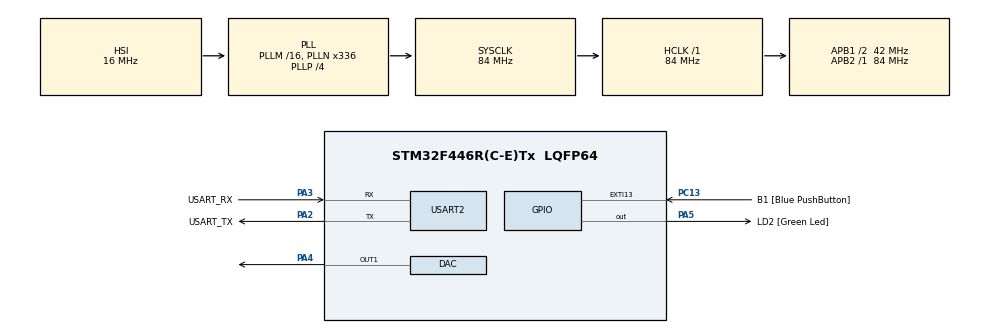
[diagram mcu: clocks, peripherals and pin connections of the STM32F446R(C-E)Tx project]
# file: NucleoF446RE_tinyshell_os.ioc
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DAC.DAC_Trigger=DAC_TRIGGER_SOFTWARE
Dma.Request0=USART2_RX
Dma.USART2_RX.0.Direction=DMA_PERIPH_TO_MEMORY
Dma.USART2_RX.0.FIFOMode=DMA_FIFOMODE_DISABLE
Dma.USART2_RX.0.Instance=DMA1_Stream5
Dma.USART2_RX.0.MemDataAlignment=DMA_MDATAALIGN_BYTE
Dma.USART2_RX.0.MemInc=DMA_MINC_ENABLE
Dma.USART2_RX.0.Mode=DMA_NORMAL
Dma.USART2_RX.0.PeriphDataAlignment=DMA_PDATAALIGN_BYTE
Dma.USART2_RX.0.PeriphInc=DMA_PINC_DISABLE
Dma.USART2_RX.0.Priority=DMA_PRIORITY_MEDIUM
FREERTOS.BinarySemaphores01=ShellBinarySem,Static,ShellBinarySemControlBlock
FREERTOS.Tasks01=defaultTask,0,128,StartDefaultTask,Default,NULL,Dynamic,NULL,NULL;shellTask,1,128,StartShellTask,Default,NULL,Dynamic,NULL,NULL
FREERTOS.configGENERATE_RUN_TIME_STATS=1
FREERTOS.configUSE_COUNTING_SEMAPHORES=1
FREERTOS.configUSE_MUTEXES=0
FREERTOS.configUSE_STATS_FORMATTING_FUNCTIONS=0
FREERTOS.configUSE_TRACE_FACILITY=1
Mcu.Family=STM32F4
Mcu.Name=STM32F446R(C-E)Tx
Mcu.Package=LQFP64
NVIC.DMA1_Stream5_IRQn=true\:5\:0\:false\:false\:true\:true\:false\:true
NVIC.PriorityGroup=NVIC_PRIORITYGROUP_4
NVIC.TIM5_IRQn=true\:7\:0\:true\:false\:true\:true\:true\:true
NVIC.TIM6_DAC_IRQn=true\:0\:0\:false\:false\:true\:false\:false\:true
NVIC.TimeBase=TIM6_DAC_IRQn
NVIC.TimeBaseIP=TIM6
NVIC.USART2_IRQn=true\:6\:0\:true\:false\:true\:true\:true\:true
PA13.GPIO_Label=TMS
PA13.Mode=Serial_Wire
PA13.Signal=SYS_JTMS-SWDIO
PA14.GPIO_Label=TCK
PA14.Mode=Serial_Wire
PA14.Signal=SYS_JTCK-SWCLK
PA2.GPIO_Label=USART_TX
PA2.Mode=Asynchronous
PA2.Signal=USART2_TX
PA3.GPIO_Label=USART_RX
PA3.Mode=Asynchronous
PA3.Signal=USART2_RX
PA4.Signal=COMP_DAC1_group
PA5.GPIO_Label=LD2 [Green Led]
PA5.Signal=GPIO_Output
PB3.GPIO_Label=SWO
PB3.Signal=SYS_JTDO-SWO
PC13.GPIO_Label=B1 [Blue PushButton]
PC13.GPIO_ModeDefaultEXTI=GPIO_MODE_IT_FALLING
PC13.Signal=GPXTI13
PC14-OSC32_IN.Signal=RCC_OSC32_IN
PC15-OSC32_OUT.Signal=RCC_OSC32_OUT
PH0-OSC_IN.Signal=RCC_OSC_IN
PH1-OSC_OUT.Signal=RCC_OSC_OUT
ProjectManager.HeapSize=0x200
ProjectManager.StackSize=0x400
ProjectManager.TargetToolchain=STM32CubeIDE
RCC.48MHZClocksFreq_Value=84000000
RCC.AHBFreq_Value=84000000
RCC.APB1CLKDivider=RCC_HCLK_DIV2
RCC.APB1Freq_Value=42000000
RCC.APB1TimFreq_Value=84000000
RCC.APB2Freq_Value=84000000
RCC.APB2TimFreq_Value=84000000
RCC.CortexFreq_Value=84000000
RCC.FLatency-AdvancedSettings=FLASH_LATENCY_2
RCC.HCLKFreq_Value=84000000
RCC.HSE_VALUE=8000000
RCC.HSI_VALUE=16000000
RCC.PLLN=336
RCC.PLLP=RCC_PLLP_DIV4
RCC.SYSCLKFreq_VALUE=84000000
RCC.SYSCLKSource=RCC_SYSCLKSOURCE_PLLCLK
RCC.USBFreq_Value=168000000
RCC.VCOOutputFreq_Value=336000000
SH.COMP_DAC1_group.0=DAC_OUT1,DAC_OUT1
TIM5.Period=timPeriod
USART2.VirtualMode=VM_ASYNC
VP_FREERTOS_VS_CMSIS_V1.Mode=CMSIS_V1
VP_SYS_VS_tim6.Mode=TIM6
VP_TIM5_VS_ClockSourceINT.Mode=Internal
board=NUCLEO-F446RE

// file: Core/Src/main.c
/* USER CODE BEGIN Header */
/**
  ******************************************************************************
  * @file           : main.c
  * @brief          : Main program body
  ******************************************************************************
  * @attention
  *
  * <h2><center>&copy; Copyright (c) 2020 STMicroelectronics.
  * All rights reserved.</center></h2>
  *
  * This software component is licensed by ST under BSD 3-Clause license,
  * the "License"; You may not use this file except in compliance with the
  * License. You may obtain a copy of the License at:
  *                        opensource.org/licenses/BSD-3-Clause
  *
  ******************************************************************************
  */
/* USER CODE END Header */
#include "main.h"
#include "cmsis_os.h"

/* USER CODE BEGIN Includes */
#include "tinyshell.h"

/* USER CODE END Includes */

/* USER CODE BEGIN PM */
#define DEBUG_BREAK		__asm("BKPT #0");

/* USER CODE END PM */

DAC_HandleTypeDef hdac;

TIM_HandleTypeDef htim5;

UART_HandleTypeDef huart2;
DMA_HandleTypeDef hdma_usart2_rx;

osThreadId defaultTaskHandle;
osThreadId shellTaskHandle;
osSemaphoreId ShellBinarySemHandle;
osStaticSemaphoreDef_t ShellBinarySemControlBlock;
/* USER CODE BEGIN PV */
__IO char rxByte;
#if (configGENERATE_RUN_TIME_STATS == 1)
/**> https://mcuoneclipse.com/2018/08/02/tutorial-using-runtime-statistics-with-amazon-freertos-v10/ */
static uint32_t RTOS_RunTimeCounter;
#endif

/* USER CODE END PV */

void SystemClock_Config(void);
static void MX_GPIO_Init(void);
static void MX_DMA_Init(void);
static void MX_USART2_UART_Init(void);
static void MX_DAC_Init(void);
static void MX_TIM5_Init(void);
void StartDefaultTask(void const * argument);
void StartShellTask(void const * argument);

/* USER CODE BEGIN PFP */
int console_putc(char c);
char console_getc(void);
#if (0)
void console_puts(char *s);
void console_put_line(char *s);
int console_gets(char *s, int len);
#endif
/* USER CODE END PFP */

/* USER CODE BEGIN 0 */

#if (configGENERATE_RUN_TIME_STATS == 1)
/**
 * CallBack Function used for TIM5 initialization for FREERTOS STAT TRACE
 * Return: None
 */
void RTOS_AppConfigureTimerForRuntimeStats(void)
{
  RTOS_RunTimeCounter = 0;
  HAL_TIM_Base_Start_IT(&htim5);
}

/**
 * CallBack Function to get FREERTOS STAT timer (10kHz)
 * Return: RTOS Counter value
 */
uint32_t RTOS_AppGetRuntimeCounterValueFromISR(void)
{
  return RTOS_RunTimeCounter;
}
#endif

/*
 * Transmit a single char to UART in polling mode
 * Arg1: Char to transmit to UART Data Register
 * Return: Success: 1, None or fail :0
 */
int console_putc(char txByte)
{
  /**> If UART TX Buffer is empty, transmit char to UART TX Buffer */
	if (HAL_UART_Transmit(&huart2, (uint8_t *)&txByte, 1, HAL_MAX_DELAY) == HAL_OK)
	{
		return 1;
	}
	else
		return 0;
}

/*
 * Receive a single char from UART through DMA
 * Return: Received byte into UART data register
 */
char console_getc(void)
{
	/**> Keep for compatibility with non-os and non-UART DMA firmware */
  return (char)rxByte;
}

#if (0)
/*
 * Transmit a string to USART in polling mode
 * Arg0: Array of char
 * Return: None
 */
void console_puts(char *s)
{
  while (*s != '\0')
  {
    if (*s == '\r')
    {
      console_putc('\n');
    }
    else
    {
      console_putc(*s);
    }
    s++;
  }
}

/*
 * Transmit a string and new line to USART in polling mode
 * Arg0: Array of char
 * Return: None
 */
void console_put_line(char *s)
{
  console_puts(s);
  console_puts("\n");
}

/*
 * Receive a string with a know size from USART1 in polling mode
 * Arg0: Received char array
 * Arg1: Maximum lenght of array
 * Return: Total lenght of string
 */
int console_gets(char *s, int len)
{
  char *t = s;
  char c;

  *t = '\000';
  /**> read until <LF> is received */
  while ((c = console_getc()) != '\n')
  {
    *t = c;
    console_putc(c);
    if ((t - s) < len)
    {
      t++;
    }
    /**> Update end of string with NULL */
    *t = '\000';
  }
  return t - s;
}
#endif

/* USER CODE END 0 */

int main(void)
{

  /* MCU Configuration--------------------------------------------------------*/

  /* Reset of all peripherals, Initializes the Flash interface and the Systick. */
  HAL_Init();

  /* Configure the system clock */
  SystemClock_Config();

  /* Initialize all configured peripherals */
  MX_GPIO_Init();
  MX_DMA_Init();
  MX_USART2_UART_Init();
  MX_DAC_Init();
  MX_TIM5_Init();

  /* Create the semaphores(s) */
  /* definition and creation of ShellBinarySem */
  osSemaphoreStaticDef(ShellBinarySem, &ShellBinarySemControlBlock);
  ShellBinarySemHandle = osSemaphoreCreate(osSemaphore(ShellBinarySem), 1);

  /* USER CODE BEGIN RTOS_SEMAPHORES */
  /**> Be sure to enable Sem ControlBlock when creating Binary Semaphore to call xSemaphorecreate which
   	 	 block initial state vs vSemaphoreCreate
   	 	 https://stackoverflow.com/questions/34415794/binary-semaphore-unblock-after-creation */
  /**> Add ShellBinarySem for FreeRTOS STATS */
  vQueueAddToRegistry(ShellBinarySemHandle, "ShellSem");

  /* USER CODE END RTOS_SEMAPHORES */

  /* Create the thread(s) */
  /* definition and creation of defaultTask */
  osThreadDef(defaultTask, StartDefaultTask, osPriorityNormal, 0, 128);
  defaultTaskHandle = osThreadCreate(osThread(defaultTask), NULL);

  /* definition and creation of shellTask */
  osThreadDef(shellTask, StartShellTask, osPriorityAboveNormal, 0, 128);
  shellTaskHandle = osThreadCreate(osThread(shellTask), NULL);

  /* Start scheduler */
  osKernelStart();

  /* We should never get here as control is now taken by the scheduler */
  /* Infinite loop */
  while (1)
  {

  }
}

void SystemClock_Config(void)
{
  RCC_OscInitTypeDef RCC_OscInitStruct = {0};
  RCC_ClkInitTypeDef RCC_ClkInitStruct = {0};

  /** Configure the main internal regulator output voltage
  */
  __HAL_RCC_PWR_CLK_ENABLE();
  __HAL_PWR_VOLTAGESCALING_CONFIG(PWR_REGULATOR_VOLTAGE_SCALE3);
  /** Initializes the RCC Oscillators according to the specified parameters
  * in the RCC_OscInitTypeDef structure.
  */
  RCC_OscInitStruct.OscillatorType = RCC_OSCILLATORTYPE_HSI;
  RCC_OscInitStruct.HSIState = RCC_HSI_ON;
  RCC_OscInitStruct.HSICalibrationValue = RCC_HSICALIBRATION_DEFAULT;
  RCC_OscInitStruct.PLL.PLLState = RCC_PLL_ON;
  RCC_OscInitStruct.PLL.PLLSource = RCC_PLLSOURCE_HSI;
  RCC_OscInitStruct.PLL.PLLM = 16;
  RCC_OscInitStruct.PLL.PLLN = 336;
  RCC_OscInitStruct.PLL.PLLP = RCC_PLLP_DIV4;
  RCC_OscInitStruct.PLL.PLLQ = 2;
  RCC_OscInitStruct.PLL.PLLR = 2;
  if (HAL_RCC_OscConfig(&RCC_OscInitStruct) != HAL_OK)
  {
    Error_Handler();
  }
  /** Initializes the CPU, AHB and APB buses clocks
  */
  RCC_ClkInitStruct.ClockType = RCC_CLOCKTYPE_HCLK|RCC_CLOCKTYPE_SYSCLK
                              |RCC_CLOCKTYPE_PCLK1|RCC_CLOCKTYPE_PCLK2;
  RCC_ClkInitStruct.SYSCLKSource = RCC_SYSCLKSOURCE_PLLCLK;
  RCC_ClkInitStruct.AHBCLKDivider = RCC_SYSCLK_DIV1;
  RCC_ClkInitStruct.APB1CLKDivider = RCC_HCLK_DIV2;
  RCC_ClkInitStruct.APB2CLKDivider = RCC_HCLK_DIV1;

  if (HAL_RCC_ClockConfig(&RCC_ClkInitStruct, FLASH_LATENCY_2) != HAL_OK)
  {
    Error_Handler();
  }
}

static void MX_DAC_Init(void)
{

  DAC_ChannelConfTypeDef sConfig = {0};

  /** DAC Initialization
  */
  hdac.Instance = DAC;
  if (HAL_DAC_Init(&hdac) != HAL_OK)
  {
    Error_Handler();
  }
  /** DAC channel OUT1 config
  */
  sConfig.DAC_Trigger = DAC_TRIGGER_SOFTWARE;
  sConfig.DAC_OutputBuffer = DAC_OUTPUTBUFFER_ENABLE;
  if (HAL_DAC_ConfigChannel(&hdac, &sConfig, DAC_CHANNEL_1) != HAL_OK)
  {
    Error_Handler();
  }
  /* USER CODE BEGIN DAC_Init 2 */
  HAL_DAC_SetValue(&hdac, DAC_CHANNEL_1, DAC_ALIGN_12B_R, 0);
  HAL_DAC_Start(&hdac, DAC_CHANNEL_1);
  HAL_DAC_Stop(&hdac, DAC_CHANNEL_1);
  /* USER CODE END DAC_Init 2 */

}

static void MX_TIM5_Init(void)
{

  /* USER CODE BEGIN TIM5_Init 0 */
#if (configGENERATE_RUN_TIME_STATS == 1)
	/**> We assume PCLK1 = PCLK2 = HCLK */
	uint32_t timPeriod;

  /* USER CODE END TIM5_Init 0 */

  TIM_ClockConfigTypeDef sClockSourceConfig = {0};
  TIM_MasterConfigTypeDef sMasterConfig = {0};

  /* USER CODE BEGIN TIM5_Init 1 */
  timPeriod = (uint32_t)((HAL_RCC_GetPCLK1Freq() / 10000) - 1);

  /* USER CODE END TIM5_Init 1 */
  htim5.Instance = TIM5;
  htim5.Init.Prescaler = 0;
  htim5.Init.CounterMode = TIM_COUNTERMODE_UP;
  htim5.Init.Period = timPeriod;
  htim5.Init.ClockDivision = TIM_CLOCKDIVISION_DIV1;
  htim5.Init.AutoReloadPreload = TIM_AUTORELOAD_PRELOAD_DISABLE;
  if (HAL_TIM_Base_Init(&htim5) != HAL_OK)
  {
    Error_Handler();
  }
  sClockSourceConfig.ClockSource = TIM_CLOCKSOURCE_INTERNAL;
  if (HAL_TIM_ConfigClockSource(&htim5, &sClockSourceConfig) != HAL_OK)
  {
    Error_Handler();
  }
  sMasterConfig.MasterOutputTrigger = TIM_TRGO_RESET;
  sMasterConfig.MasterSlaveMode = TIM_MASTERSLAVEMODE_DISABLE;
  if (HAL_TIMEx_MasterConfigSynchronization(&htim5, &sMasterConfig) != HAL_OK)
  {
    Error_Handler();
  }
  /* USER CODE BEGIN TIM5_Init 2 */
#endif
  /* USER CODE END TIM5_Init 2 */

}

static void MX_USART2_UART_Init(void)
{

  huart2.Instance = USART2;
  huart2.Init.BaudRate = 115200;
  huart2.Init.WordLength = UART_WORDLENGTH_8B;
  huart2.Init.StopBits = UART_STOPBITS_1;
  huart2.Init.Parity = UART_PARITY_NONE;
  huart2.Init.Mode = UART_MODE_TX_RX;
  huart2.Init.HwFlowCtl = UART_HWCONTROL_NONE;
  huart2.Init.OverSampling = UART_OVERSAMPLING_16;
  if (HAL_UART_Init(&huart2) != HAL_OK)
  {
    Error_Handler();
  }

}

static void MX_DMA_Init(void)
{

  /* DMA controller clock enable */
  __HAL_RCC_DMA1_CLK_ENABLE();

  /* DMA interrupt init */
  /* DMA1_Stream5_IRQn interrupt configuration */
  HAL_NVIC_SetPriority(DMA1_Stream5_IRQn, 5, 0);
  HAL_NVIC_EnableIRQ(DMA1_Stream5_IRQn);

}

static void MX_GPIO_Init(void)
{
  GPIO_InitTypeDef GPIO_InitStruct = {0};

  /* GPIO Ports Clock Enable */
  __HAL_RCC_GPIOC_CLK_ENABLE();
  __HAL_RCC_GPIOH_CLK_ENABLE();
  __HAL_RCC_GPIOA_CLK_ENABLE();
  __HAL_RCC_GPIOB_CLK_ENABLE();

  /*Configure GPIO pin Output Level */
  HAL_GPIO_WritePin(LD2_GPIO_Port, LD2_Pin, GPIO_PIN_RESET);

  /*Configure GPIO pin : B1_Pin */
  GPIO_InitStruct.Pin = B1_Pin;
  GPIO_InitStruct.Mode = GPIO_MODE_IT_FALLING;
  GPIO_InitStruct.Pull = GPIO_NOPULL;
  HAL_GPIO_Init(B1_GPIO_Port, &GPIO_InitStruct);

  /*Configure GPIO pin : LD2_Pin */
  GPIO_InitStruct.Pin = LD2_Pin;
  GPIO_InitStruct.Mode = GPIO_MODE_OUTPUT_PP;
  GPIO_InitStruct.Pull = GPIO_NOPULL;
  GPIO_InitStruct.Speed = GPIO_SPEED_FREQ_LOW;
  HAL_GPIO_Init(LD2_GPIO_Port, &GPIO_InitStruct);

}

/* USER CODE BEGIN 4 */
/**
  * @brief  Rx Transfer completed callbacks.
  * @param  huart  Pointer to a UART_HandleTypeDef structure that contains
  *                the configuration information for the specified UART module.
  * @retval None
  */
void HAL_UART_RxCpltCallback(UART_HandleTypeDef *huart)
{
	if (huart->Instance == USART2)
	{
		/**> Release a Semaphore token */
		osSemaphoreRelease(ShellBinarySemHandle);
	}
}

/* USER CODE END 4 */

void StartDefaultTask(void const * argument)
{
  /* USER CODE BEGIN 5 */
  /* Infinite loop */
  for(;;)
  {
  	/**> Self killing if not used */
//    osThreadTerminate(defaultTaskHandle);
  	/**> Or do some useless stuff */
  	HAL_GPIO_TogglePin(GPIOA, GPIO_PIN_5);
  	osDelay(200);
  }
  /* USER CODE END 5 */
}

void StartShellTask(void const * argument)
{
  /* USER CODE BEGIN StartShellTask */
	char c;

	/**> Configure shell */
	sShellImpl shell_impl = {
			.send_char = console_putc,
	};
	/**> Start shell */
	shell_boot(&shell_impl);

	/**> Start USART Receive in non blocking Mode one byte at a time */
	HAL_UART_Receive_DMA(&huart2, (uint8_t *)&rxByte, 1);

  /* Infinite loop */
  for(;;)
  {
  	/**> Wait until Semaphore token becomes available */
  	if (osSemaphoreWait(ShellBinarySemHandle, portMAX_DELAY) == osOK)
  	{
  		/**> Run Tiny Shell */
  		c = console_getc();
  		shell_receive_char(c);

  		/**> Restart USART Receive in non blocking Mode */
  		HAL_UART_Receive_DMA(&huart2, (uint8_t *)&rxByte, 1);
  	}
  }
  /* USER CODE END StartShellTask */
}

 /**
  * @brief  Period elapsed callback in non blocking mode
  * @note   This function is called  when TIM6 interrupt took place, inside
  * HAL_TIM_IRQHandler(). It makes a direct call to HAL_IncTick() to increment
  * a global variable "uwTick" used as application time base.
  * @param  htim : TIM handle
  * @retval None
  */
void HAL_TIM_PeriodElapsedCallback(TIM_HandleTypeDef *htim)
{
  /* USER CODE BEGIN Callback 0 */
#if (configGENERATE_RUN_TIME_STATS == 1)
	/**> Increment STAT runtime counter */
	if (htim->Instance == TIM5)
	{
		RTOS_RunTimeCounter++;
	}
#endif
  /* USER CODE END Callback 0 */
  if (htim->Instance == TIM6) {
    HAL_IncTick();
  }
}

void Error_Handler(void)
{
  /* USER CODE BEGIN Error_Handler_Debug */
  /* User can add his own implementation to report the HAL error return state */
  __disable_irq();
  DEBUG_BREAK
  while (1)
  {
  }
  /* USER CODE END Error_Handler_Debug */
}

/************************ (C) COPYRIGHT STMicroelectronics *****END OF FILE****/

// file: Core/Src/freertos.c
/* USER CODE BEGIN Header */
/**
  ******************************************************************************
  * File Name          : freertos.c
  * Description        : Code for freertos applications
  ******************************************************************************
  * @attention
  *
  * <h2><center>&copy; Copyright (c) 2020 STMicroelectronics.
  * All rights reserved.</center></h2>
  *
  * This software component is licensed by ST under Ultimate Liberty license
  * SLA0044, the "License"; You may not use this file except in compliance with
  * the License. You may obtain a copy of the License at:
  *                             www.st.com/SLA0044
  *
  ******************************************************************************
  */
/* USER CODE END Header */

#include "FreeRTOS.h"
#include "task.h"
#include "main.h"

/* GetIdleTaskMemory prototype (linked to static allocation support) */
void vApplicationGetIdleTaskMemory( StaticTask_t **ppxIdleTaskTCBBuffer, StackType_t **ppxIdleTaskStackBuffer, uint32_t *pulIdleTaskStackSize );

/* Hook prototypes */
void configureTimerForRunTimeStats(void);
unsigned long getRunTimeCounterValue(void);

/* USER CODE BEGIN 1 */
/* Functions needed when configGENERATE_RUN_TIME_STATS is on */
__weak void configureTimerForRunTimeStats(void)
{
}

__weak unsigned long getRunTimeCounterValue(void)
{
return 0;
}
/* USER CODE END 1 */

/* USER CODE BEGIN GET_IDLE_TASK_MEMORY */
static StaticTask_t xIdleTaskTCBBuffer;
static StackType_t xIdleStack[configMINIMAL_STACK_SIZE];

void vApplicationGetIdleTaskMemory( StaticTask_t **ppxIdleTaskTCBBuffer, StackType_t **ppxIdleTaskStackBuffer, uint32_t *pulIdleTaskStackSize )
{
  *ppxIdleTaskTCBBuffer = &xIdleTaskTCBBuffer;
  *ppxIdleTaskStackBuffer = &xIdleStack[0];
  *pulIdleTaskStackSize = configMINIMAL_STACK_SIZE;
  /* place for user code */
}
/* USER CODE END GET_IDLE_TASK_MEMORY */

/************************ (C) COPYRIGHT STMicroelectronics *****END OF FILE****/
